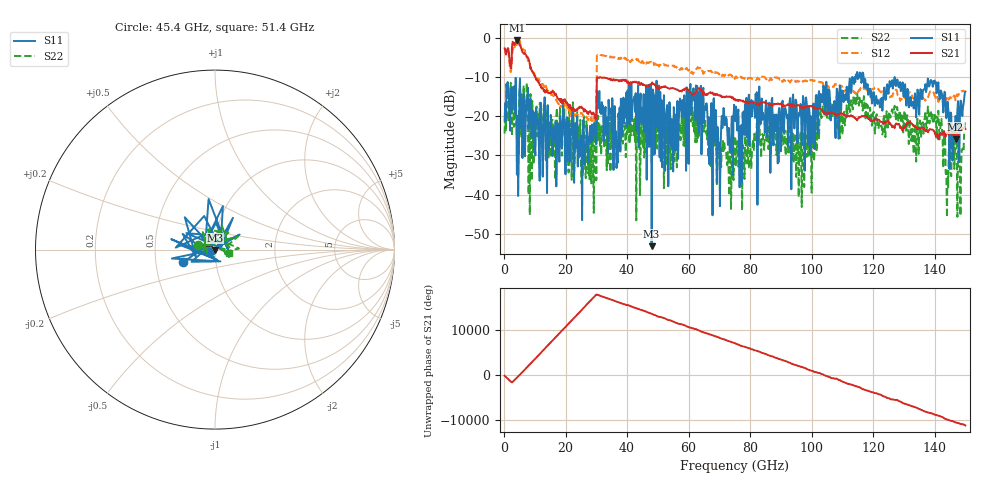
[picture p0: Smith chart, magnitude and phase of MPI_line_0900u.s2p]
!  2-Port S-parameters saved by WinCal
! VAR MeasName=S-Parameters (RAW_DATA) read from VNA (MS4647B)
! VAR MeasDate=09-Dec-21 16:18:58
! VAR NAME=L2
! VAR FILENAME=L2.S2P
! VAR DATE=09-Dec-21 16:18:58
! VAR PHYS_PORTS=1,2
! VAR ObjTypeName=DATASET
! VAR IndexType=Frequency
# Hz S RI R 50
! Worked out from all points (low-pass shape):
!   750 points, 200 MHz to 150 GHz, reference 50 ohm
!   highest |S21| = -0.69 dB at 4.2 GHz (marker M1); lowest = -25.9 dB at 146.8 GHz (marker M2)
!   |S21| within 3 dB of the highest: 769.6 MHz to 1.559 GHz (789.4 MHz wide, 67.8 % of centre); 2.542 GHz to 6.038 GHz (3.496 GHz wide, 81.5 % of centre)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
!   lowest |S11| = -53.1 dB at 48 GHz (marker M3), VSWR 1.00, Z = 49.9 - j0.21 ohm
!   |S11| at or under -10 dB: start of sweep to 113.2 GHz; 113.2 GHz to 114.3 GHz (1.106 GHz wide, 0.972 % of centre); 116.9 GHz to end of sweep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
!   |S22| runs from -46.5 to -11.5 dB; largest |S21 - S12| = 1.8
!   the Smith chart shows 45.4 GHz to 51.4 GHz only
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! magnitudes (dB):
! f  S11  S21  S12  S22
! 200 MHz  -21.2  -2.7  -2.6  -24.4
! 3.4 GHz  -12.3  -1.8  -2.7  -15.5
! 4.2 GHz  -34.9  -0.7  -1.3  -22.8
! 8 GHz  -23.1  -5.4  -5.6  -39.9
! 25.2 GHz  -27.5  -17.6  -19.3  -37.2
! 29.4 GHz  -21.7  -19.7  -21.3  -23.1
! 30.8 GHz  -16.9  -10.2  -4.5  -26.4
! 36.2 GHz  -26.5  -10.7  -5.1  -25.7
! 40.8 GHz  -22.1  -11.8  -5.7  -27.0
! 48 GHz  -53.1  -11.8  -6.5  -18.5
! 50.2 GHz  -23.6  -12.6  -7.0  -24.2
! 54 GHz  -19.4  -12.9  -7.1  -25.8
! 61.8 GHz  -16.0  -14.4  -8.6  -23.9
! 69.8 GHz  -28.4  -14.6  -9.1  -29.3
! 75.2 GHz  -21.2  -15.7  -10.0  -25.1
! 100.2 GHz  -26.7  -17.5  -10.8  -28.2
! 104.2 GHz  -17.1  -18.8  -11.6  -20.1
! 125.2 GHz  -12.7  -21.6  -14.8  -18.8
! 139.8 GHz  -11.5  -23.7  -14.2  -21.8
! 144 GHz  -19.8  -24.2  -14.9  -45.8
! 146.8 GHz  -19.9  -25.9  -16.0  -23.2
! 150 GHz  -13.7  -23.3  -14.0  -21.2
